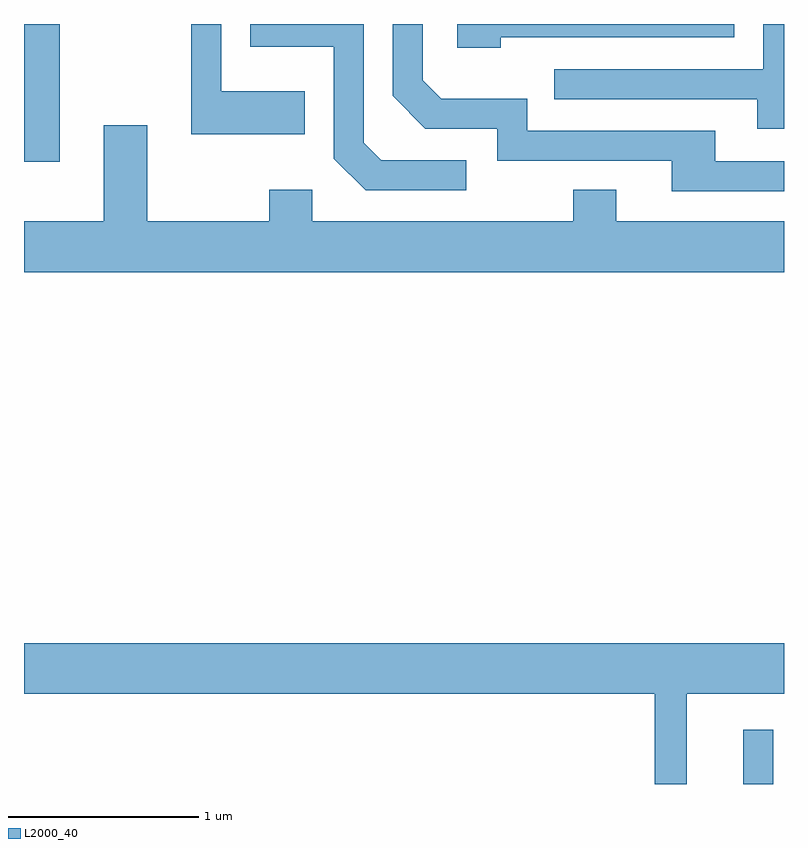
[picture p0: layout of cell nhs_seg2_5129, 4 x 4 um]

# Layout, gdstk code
import gdstk
lib = gdstk.Library(unit=1e-6, precision=1e-09)
def R(c, l, rs):  # rectangles x0, y0, x1, y1
    for r in rs: c.add(gdstk.rectangle(r[:2], r[2:], *l))
def P(c, l, *ps):  # polygons
    for p in ps: c.add(gdstk.Polygon(p, *l))
L2000_40 = (2000, 40)

nhs_seg2_5129 = lib.new_cell('nhs_seg2_5129')
R(nhs_seg2_5129, L2000_40, [(339.396,1087.802,339.554,1088.088), (335.611,1091.076,335.799,1091.802)])
P(nhs_seg2_5129, L2000_40, [(338.119,1091.731),(339.349,1091.731),(339.349,1091.802),(337.891,1091.802),(337.891,1091.676),(338.119,1091.676)],
  [(337.938,1091.084),(337.492,1091.084),(337.399,1091.177),(337.399,1091.802),(336.801,1091.802),(336.801,1091.681),(337.241,1091.681),(337.241,1091.094),(337.409,1090.926),(337.938,1090.926)],
  [(339.611,1091.079),(339.249,1091.079),(339.249,1091.239),(338.259,1091.239),(338.259,1091.409),(337.807,1091.409),(337.709,1091.507),(337.709,1091.802),(337.551,1091.802),(337.551,1091.424),(337.724,1091.251),(338.101,1091.251),(338.101,1091.081),(339.021,1091.081),(339.021,1090.921),(339.611,1090.921)],
  [(337.089,1091.449),(336.649,1091.449),(336.649,1091.802),(336.491,1091.802),(336.491,1091.221),(337.089,1091.221)],
  [(339.611,1091.802),(339.501,1091.802),(339.501,1091.564),(338.403,1091.564),(338.403,1091.406),(339.471,1091.406),(339.471,1091.251),(339.611,1091.251)],
  [(339.611,1090.764),(338.729,1090.764),(338.729,1090.929),(338.501,1090.929),(338.501,1090.764),(337.129,1090.764),(337.129,1090.929),(336.901,1090.929),(336.901,1090.764),(336.259,1090.764),(336.259,1091.269),(336.031,1091.269),(336.031,1090.764),(335.611,1090.764),(335.611,1090.496),(339.611,1090.496)],
  [(335.611,1088.276),(338.931,1088.276),(338.931,1087.802),(339.099,1087.802),(339.099,1088.276),(339.611,1088.276),(339.611,1088.544),(335.611,1088.544)])

lib.write_gds('nhs_seg2_5129.gds')
